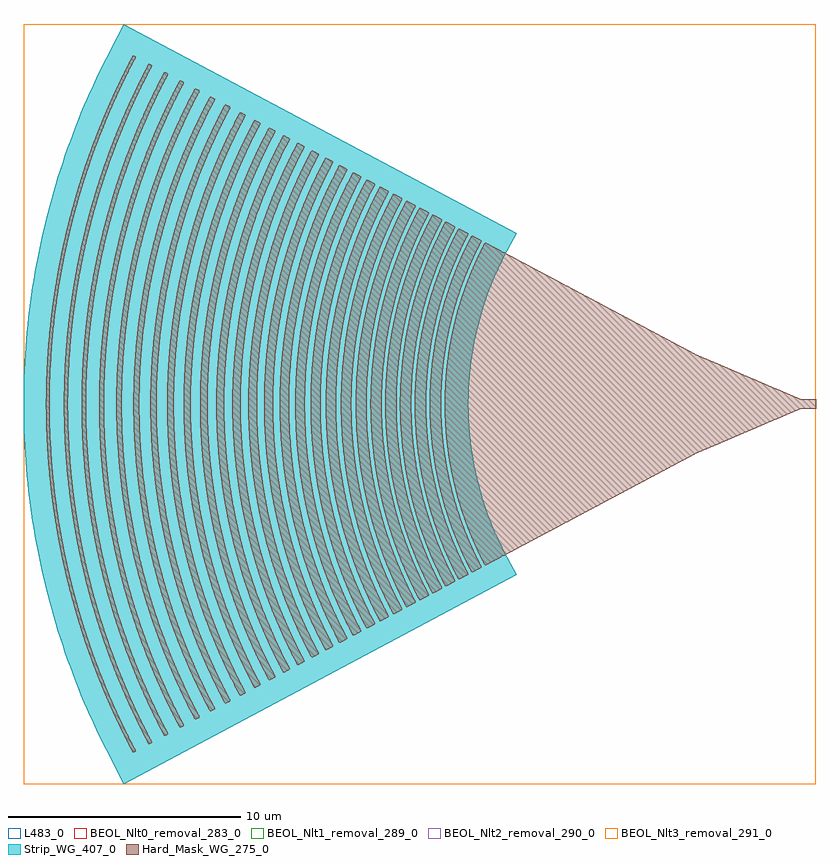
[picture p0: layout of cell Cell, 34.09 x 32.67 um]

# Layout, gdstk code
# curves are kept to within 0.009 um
import gdstk
lib = gdstk.Library(unit=1e-6, precision=1e-09)
def R(c, l, rs):  # rectangles x0, y0, x1, y1
    for r in rs: c.add(gdstk.rectangle(r[:2], r[2:], *l))
def P(c, l, *ps):  # polygons
    for p in ps: c.add(gdstk.Polygon(p, *l))
Hard_Mask_WG_275_0 = (275, 0)
BEOL_Nlt0_removal_283_0 = (283, 0)
BEOL_Nlt1_removal_289_0 = (289, 0)
BEOL_Nlt2_removal_290_0 = (290, 0)
BEOL_Nlt3_removal_291_0 = (291, 0)
Strip_WG_407_0 = (407, 0)
L483_0 = (483, 0)

cell = lib.new_cell('Cell')
P(cell, Hard_Mask_WG_275_0, [(360.085,2.072),(360.055,2.075),(360.014,2.135),(359.414,3.335),(359.019,4.205),(358.633,5.134),(358.271,6.094),(357.965,6.994),(357.725,7.774),(357.46,8.733),(357.249,9.603),(357.065,10.473),(356.917,11.283),(356.767,12.272),(356.65,13.262),(356.564,14.282),(356.525,14.971),(356.495,16.141),(356.5,16.951),(356.532,17.851),(356.593,18.78),(356.71,19.95),(356.831,20.85),(356.98,21.749),(357.189,22.799),(357.399,23.699),(357.639,24.599),(357.936,25.588),(358.239,26.488),(358.574,27.388),(358.993,28.407),(359.414,29.337),(360.014,30.537),(360.055,30.597),(360.085,30.6),(360.198,30.537),(360.215,30.507),(360.207,30.477),(359.778,29.637),(359.301,28.617),(358.822,27.478),(358.428,26.428),(358.165,25.652),(357.922,24.868),(357.712,24.119),(357.508,23.309),(357.321,22.469),(357.145,21.546),(357.022,20.79),(356.905,19.92),(356.814,19.05),(356.755,18.289),(356.725,17.765),(356.692,16.441),(356.7,15.661),(356.752,14.432),(356.814,13.622),(356.905,12.752),(357.022,11.882),(357.145,11.126),(357.321,10.203),(357.508,9.363),(357.712,8.553),(357.922,7.804),(358.165,7.02),(358.428,6.244),(358.822,5.194),(359.301,4.055),(359.778,3.035),(360.207,2.195),(360.215,2.165),(360.198,2.135)],
  [(358.735,1.355),(358.705,1.358),(358.665,1.415),(358.063,2.615),(357.548,3.755),(357.132,4.774),(356.766,5.764),(356.504,6.544),(356.194,7.564),(355.959,8.433),(355.716,9.453),(355.537,10.323),(355.358,11.343),(355.237,12.182),(355.114,13.262),(355.036,14.222),(354.992,15.031),(354.966,16.141),(354.977,17.191),(355.026,18.3),(355.089,19.14),(355.181,20.04),(355.299,20.94),(355.454,21.899),(355.658,22.949),(355.869,23.879),(356.135,24.898),(356.437,25.918),(356.766,26.908),(357.097,27.808),(357.548,28.917),(357.955,29.826),(358.602,31.137),(358.682,31.286),(358.705,31.314),(358.735,31.317),(358.825,31.261),(358.826,31.227),(358.221,30.027),(357.769,29.037),(357.322,27.957),(356.995,27.088),(356.726,26.308),(356.452,25.438),(356.214,24.599),(356.007,23.789),(355.791,22.829),(355.615,21.918),(355.465,21),(355.344,20.1),(355.255,19.26),(355.193,18.48),(355.135,17.321),(355.123,16.531),(355.133,15.421),(355.165,14.652),(355.225,13.759),(355.344,12.572),(355.465,11.672),(355.615,10.754),(355.791,9.843),(356.007,8.883),(356.214,8.073),(356.452,7.234),(356.726,6.364),(356.995,5.584),(357.322,4.715),(357.769,3.635),(358.221,2.645),(358.826,1.445),(358.825,1.411)],
  [(364.555,4.462),(364.336,4.864),(363.915,5.734),(363.609,6.424),(363.339,7.084),(363.069,7.804),(362.824,8.523),(362.593,9.273),(362.38,10.053),(362.2,10.803),(362.021,11.672),(361.869,12.572),(361.775,13.262),(361.689,14.072),(361.633,14.821),(361.597,15.631),(361.589,16.261),(361.597,17.041),(361.633,17.851),(361.689,18.6),(361.775,19.41),(361.869,20.1),(362.021,21),(362.167,21.719),(362.32,22.379),(362.533,23.189),(362.766,23.969),(363.037,24.778),(363.258,25.378),(363.546,26.098),(363.86,26.818),(364.186,27.508),(364.555,28.21),(364.585,28.209),(364.795,28.097),(364.825,28.047),(364.462,27.328),(364.07,26.488),(363.739,25.708),(363.445,24.945),(363.148,24.089),(362.934,23.399),(362.718,22.619),(362.515,21.779),(362.365,21.06),(362.242,20.37),(362.065,19.074),(362.005,18.463),(361.945,17.581),(361.914,16.471),(361.945,15.091),(362.034,13.892),(362.123,13.112),(362.242,12.302),(362.485,11.029),(362.664,10.263),(362.899,9.393),(363.148,8.583),(363.445,7.727),(363.739,6.964),(364.07,6.184),(364.462,5.344),(364.825,4.625),(364.795,4.575),(364.585,4.463)],
  [(373.855,9.401),(373.825,9.417),(373.802,9.453),(373.546,9.963),(373.153,10.863),(372.848,11.702),(372.575,12.632),(372.366,13.562),(372.219,14.492),(372.136,15.361),(372.104,16.201),(372.125,17.131),(372.191,17.941),(372.251,18.42),(372.338,18.96),(372.522,19.83),(372.79,20.79),(373.083,21.629),(373.302,22.169),(373.546,22.709),(373.802,23.219),(373.825,23.255),(373.855,23.271),(382.942,18.45),(387.355,16.56),(387.445,16.544),(388.09,16.541),(388.09,16.131),(387.445,16.128),(387.355,16.112),(382.942,14.222)],
  [(363.955,4.132),(363.925,4.14),(363.895,4.184),(363.403,5.164),(362.983,6.094),(362.676,6.844),(362.374,7.654),(362.112,8.433),(361.868,9.243),(361.66,10.023),(361.478,10.803),(361.326,11.552),(361.207,12.242),(361.087,13.082),(360.995,13.922),(360.936,14.672),(360.903,15.301),(360.883,16.171),(360.887,16.801),(360.914,17.611),(360.971,18.48),(361.065,19.41),(361.179,20.25),(361.326,21.12),(361.478,21.869),(361.66,22.649),(361.868,23.429),(362.112,24.239),(362.374,25.018),(362.676,25.828),(362.983,26.578),(363.403,27.508),(363.895,28.488),(363.925,28.532),(363.955,28.54),(364.165,28.432),(364.189,28.407),(364.187,28.377),(363.82,27.658),(363.44,26.848),(363.106,26.068),(362.813,25.318),(362.547,24.569),(362.243,23.609),(362.034,22.859),(361.822,21.989),(361.675,21.291),(361.555,20.636),(361.373,19.38),(361.254,18.12),(361.225,17.641),(361.193,16.561),(361.195,15.901),(361.225,15.031),(361.282,14.192),(361.345,13.54),(361.435,12.812),(361.555,12.036),(361.675,11.381),(361.822,10.683),(362.034,9.813),(362.243,9.063),(362.547,8.103),(362.813,7.354),(363.106,6.604),(363.44,5.824),(363.82,5.014),(364.187,4.295),(364.189,4.265),(364.165,4.24)],
  [(367.015,5.755),(366.985,5.756),(366.955,5.795),(366.548,6.604),(366.205,7.358),(365.897,8.103),(365.65,8.763),(365.436,9.393),(365.225,10.083),(365.046,10.743),(364.867,11.492),(364.744,12.092),(364.539,13.352),(364.452,14.102),(364.394,14.791),(364.36,15.391),(364.344,16.201),(364.353,17.071),(364.386,17.761),(364.446,18.51),(364.505,19.05),(364.599,19.74),(364.721,20.46),(364.841,21.06),(364.993,21.719),(365.199,22.499),(365.407,23.189),(365.618,23.819),(365.897,24.569),(366.205,25.314),(366.548,26.068),(366.955,26.877),(366.985,26.916),(367.015,26.917),(367.285,26.773),(367.311,26.728),(366.922,25.948),(366.618,25.288),(366.34,24.629),(366.053,23.879),(365.816,23.189),(365.604,22.499),(365.424,21.839),(365.213,20.94),(365.002,19.8),(364.855,18.69),(364.763,17.551),(364.731,16.531),(364.735,15.811),(364.763,15.121),(364.855,13.982),(365.002,12.872),(365.213,11.732),(365.424,10.833),(365.604,10.173),(365.816,9.483),(366.053,8.793),(366.34,8.043),(366.618,7.384),(366.922,6.724),(367.311,5.944),(367.285,5.899)],
  [(371.035,7.904),(371.005,7.928),(370.973,7.984),(370.63,8.673),(370.176,9.723),(369.973,10.263),(369.76,10.893),(369.461,11.942),(369.247,12.902),(369.067,14.012),(369.005,14.552),(368.956,15.151),(368.917,16.141),(368.921,16.771),(368.946,17.371),(369.041,18.45),(369.127,19.08),(369.219,19.62),(369.461,20.73),(369.76,21.779),(369.909,22.229),(370.176,22.949),(370.63,23.999),(370.973,24.688),(371.005,24.744),(371.035,24.768),(371.395,24.588),(371.434,24.539),(370.995,23.639),(370.758,23.099),(370.554,22.589),(370.19,21.539),(369.921,20.58),(369.715,19.65),(369.625,19.141),(369.534,18.51),(369.445,17.613),(369.414,17.101),(369.401,16.501),(369.414,15.571),(369.447,15.031),(369.505,14.408),(369.655,13.352),(369.776,12.722),(369.899,12.182),(370.19,11.133),(370.554,10.083),(370.758,9.573),(370.995,9.033),(371.434,8.133),(371.395,8.084)],
  [(368.185,6.384),(368.155,6.4),(368.12,6.454),(367.702,7.294),(367.392,7.984),(367.146,8.583),(366.91,9.213),(366.697,9.843),(366.488,10.533),(366.312,11.193),(366.185,11.732),(366.038,12.452),(365.921,13.142),(365.831,13.802),(365.765,14.432),(365.709,15.211),(365.679,16.291),(365.709,17.461),(365.765,18.24),(365.831,18.87),(365.921,19.53),(366.038,20.22),(366.185,20.94),(366.312,21.479),(366.488,22.139),(366.697,22.829),(366.91,23.459),(367.146,24.089),(367.392,24.688),(367.702,25.378),(368.12,26.218),(368.155,26.272),(368.185,26.288),(368.496,26.128),(368.52,26.098),(368.514,26.068),(368.15,25.348),(367.821,24.629),(367.548,23.969),(367.311,23.339),(367.078,22.649),(366.863,21.929),(366.683,21.24),(366.534,20.58),(366.325,19.41),(366.204,18.45),(366.116,17.251),(366.099,16.441),(366.116,15.421),(366.204,14.222),(366.325,13.262),(366.534,12.092),(366.683,11.432),(366.863,10.743),(367.078,10.023),(367.311,9.333),(367.548,8.703),(367.821,8.043),(368.15,7.324),(368.514,6.604),(368.52,6.574),(368.496,6.544)],
  [(373.285,9.097),(373.248,9.123),(372.976,9.663),(372.556,10.623),(372.249,11.462),(372.098,11.942),(371.918,12.602),(371.711,13.562),(371.589,14.342),(371.501,15.211),(371.473,15.691),(371.461,16.231),(371.476,17.041),(371.56,18.09),(371.711,19.11),(371.918,20.07),(372.098,20.73),(372.249,21.21),(372.556,22.049),(372.976,23.009),(373.248,23.549),(373.285,23.575),(373.645,23.391),(373.678,23.369),(373.693,23.339),(373.288,22.499),(372.955,21.703),(372.656,20.85),(372.415,20.004),(372.206,19.05),(372.083,18.27),(371.995,17.401),(371.959,16.501),(371.967,15.781),(371.995,15.271),(372.055,14.632),(372.206,13.622),(372.385,12.789),(372.625,11.921),(372.925,11.048),(373.261,10.233),(373.693,9.333),(373.678,9.303),(373.645,9.281)],
  [(368.755,6.693),(368.725,6.722),(368.568,7.024),(368.234,7.714),(367.994,8.253),(367.749,8.853),(367.568,9.333),(367.332,10.023),(367.123,10.713),(366.97,11.283),(366.847,11.792),(366.698,12.512),(366.515,13.652),(366.397,14.791),(366.365,15.301),(366.339,16.201),(366.344,16.801),(366.373,17.521),(366.43,18.27),(366.485,18.78),(366.579,19.47),(366.67,20.01),(366.91,21.15),(367.056,21.719),(367.238,22.349),(367.421,22.919),(367.691,23.669),(367.956,24.329),(368.234,24.958),(368.568,25.648),(368.725,25.95),(368.755,25.979),(368.785,25.975),(369.085,25.816),(369.111,25.768),(368.544,24.599),(368.118,23.579),(367.908,23.009),(367.708,22.409),(367.52,21.779),(367.369,21.21),(367.222,20.58),(367.108,20.01),(366.926,18.84),(366.865,18.292),(366.806,17.551),(366.771,16.561),(366.783,15.631),(366.804,15.151),(366.865,14.38),(366.983,13.412),(367.166,12.362),(367.315,11.684),(367.52,10.893),(367.708,10.263),(367.972,9.483),(368.273,8.703),(368.477,8.223),(368.753,7.624),(369.111,6.904),(369.085,6.856),(368.785,6.697)],
  [(367.585,6.07),(367.555,6.098),(367.494,6.214),(367.121,6.964),(366.848,7.564),(366.548,8.283),(366.31,8.913),(366.094,9.543),(365.89,10.203),(365.678,10.983),(365.411,12.182),(365.289,12.872),(365.194,13.532),(365.107,14.312),(365.056,14.971),(365.014,16.141),(365.019,16.861),(365.05,17.611),(365.107,18.36),(365.171,18.96),(365.261,19.62),(365.377,20.31),(365.503,20.94),(365.648,21.569),(365.83,22.259),(366.036,22.949),(366.215,23.489),(366.455,24.149),(366.732,24.838),(367.037,25.528),(367.401,26.278),(367.555,26.574),(367.585,26.602),(367.615,26.598),(367.885,26.454),(367.917,26.428),(367.919,26.398),(367.613,25.798),(367.263,25.048),(366.983,24.389),(366.74,23.759),(366.505,23.085),(366.293,22.409),(366.087,21.659),(365.903,20.88),(365.693,19.77),(365.546,18.69),(365.454,17.611),(365.418,16.471),(365.432,15.541),(365.454,15.061),(365.515,14.282),(365.665,13.081),(365.871,11.942),(366.055,11.14),(366.267,10.353),(366.47,9.693),(366.74,8.913),(366.983,8.283),(367.263,7.624),(367.613,6.874),(367.919,6.274),(367.917,6.244),(367.885,6.218),(367.615,6.074)],
  [(369.355,7),(369.325,7.003),(369.295,7.042),(368.899,7.834),(368.615,8.463),(368.38,9.033),(368.144,9.663),(367.932,10.293),(367.751,10.893),(367.598,11.462),(367.357,12.542),(367.236,13.232),(367.147,13.862),(367.084,14.432),(367.031,15.091),(366.993,16.201),(366.998,16.831),(367.026,17.491),(367.118,18.57),(367.208,19.26),(367.296,19.8),(367.418,20.43),(367.568,21.09),(367.751,21.779),(367.932,22.379),(368.144,23.009),(368.38,23.639),(368.615,24.209),(368.899,24.838),(369.295,25.63),(369.325,25.669),(369.355,25.672),(369.678,25.498),(369.702,25.468),(369.697,25.438),(369.407,24.868),(369.114,24.239),(368.871,23.669),(368.606,22.979),(368.395,22.365),(368.188,21.689),(368.004,21),(367.853,20.34),(367.675,19.369),(367.555,18.48),(367.464,17.371),(367.437,16.441),(367.464,15.301),(367.524,14.492),(367.645,13.499),(367.853,12.332),(368.004,11.672),(368.188,10.983),(368.395,10.307),(368.606,9.693),(368.871,9.003),(369.114,8.433),(369.407,7.804),(369.697,7.234),(369.702,7.204),(369.678,7.174)],
  [(365.185,4.791),(365.155,4.811),(365.122,4.864),(364.573,5.974),(364.215,6.784),(363.937,7.474),(363.672,8.193),(363.432,8.913),(363.216,9.633),(363.009,10.413),(362.862,11.043),(362.709,11.792),(362.585,12.512),(362.471,13.322),(362.382,14.162),(362.341,14.701),(362.297,15.601),(362.286,16.231),(362.291,16.861),(362.322,17.671),(362.382,18.51),(362.471,19.35),(362.557,19.98),(362.709,20.88),(362.862,21.629),(363.009,22.259),(363.216,23.039),(363.432,23.759),(363.672,24.479),(363.937,25.198),(364.215,25.888),(364.573,26.698),(365.122,27.808),(365.155,27.861),(365.185,27.881),(365.425,27.762),(365.457,27.718),(365.005,26.809),(364.679,26.098),(364.375,25.374),(364.068,24.569),(363.831,23.879),(363.595,23.113),(363.386,22.349),(363.207,21.599),(362.965,20.359),(362.785,19.082),(362.725,18.494),(362.665,17.661),(362.63,16.471),(362.635,15.751),(362.664,15.031),(362.755,13.862),(362.844,13.112),(362.932,12.512),(363.174,11.223),(363.355,10.446),(363.565,9.663),(363.831,8.793),(364.068,8.103),(364.375,7.298),(364.679,6.574),(365.005,5.863),(365.457,4.954),(365.425,4.91)],
  [(365.785,5.115),(365.746,5.164),(365.575,5.494),(365.141,6.394),(364.632,7.594),(364.395,8.223),(364.178,8.853),(363.971,9.513),(363.73,10.383),(363.55,11.133),(363.425,11.732),(363.28,12.542),(363.184,13.202),(363.103,13.892),(363.042,14.582),(363.003,15.241),(362.978,16.141),(362.983,16.861),(363.013,17.641),(363.071,18.45),(363.132,19.05),(363.221,19.74),(363.341,20.49),(363.492,21.27),(363.67,22.049),(363.876,22.829),(364.091,23.549),(364.331,24.269),(364.597,24.988),(364.839,25.588),(365.141,26.278),(365.575,27.178),(365.746,27.508),(365.785,27.557),(365.815,27.555),(366.055,27.427),(366.082,27.388),(366.073,27.358),(365.708,26.638),(365.373,25.918),(365.091,25.258),(364.795,24.496),(364.555,23.814),(364.31,23.039),(364.101,22.289),(363.895,21.434),(363.654,20.19),(363.562,19.59),(363.476,18.9),(363.383,17.821),(363.354,17.281),(363.339,16.501),(363.354,15.391),(363.445,14.072),(363.592,12.872),(363.711,12.152),(363.865,11.375),(364.07,10.503),(364.249,9.843),(364.497,9.033),(364.734,8.343),(365.005,7.628),(365.333,6.844),(365.708,6.034),(366.073,5.314),(366.082,5.284),(366.055,5.245),(365.815,5.117)],
  [(369.925,7.305),(369.895,7.309),(369.863,7.354),(369.517,8.043),(369.283,8.553),(369.006,9.213),(368.768,9.843),(368.584,10.383),(368.408,10.953),(368.229,11.612),(367.983,12.722),(367.808,13.802),(367.691,14.941),(367.659,15.481),(367.643,16.231),(367.662,17.251),(367.718,18.06),(367.778,18.63),(367.864,19.26),(367.96,19.83),(368.199,20.94),(368.526,22.109),(368.736,22.739),(368.947,23.309),(369.192,23.909),(369.517,24.629),(369.863,25.318),(369.895,25.363),(369.925,25.367),(370.255,25.194),(370.285,25.168),(370.285,25.138),(369.797,24.149),(369.586,23.669),(369.321,23.009),(368.958,21.959),(368.662,20.91),(368.425,19.831),(368.245,18.69),(368.185,18.153),(368.125,17.371),(368.097,16.441),(368.125,15.301),(368.216,14.222),(368.365,13.172),(368.484,12.542),(368.632,11.882),(368.93,10.803),(369.115,10.235),(369.321,9.663),(369.586,9.003),(369.797,8.523),(370.285,7.534),(370.285,7.504),(370.255,7.478)],
  [(361.405,2.773),(361.375,2.776),(361.345,2.815),(360.769,3.965),(360.336,4.924),(359.979,5.794),(359.644,6.694),(359.352,7.564),(359.081,8.463),(358.872,9.243),(358.627,10.293),(358.483,11.013),(358.329,11.912),(358.208,12.782),(358.119,13.592),(358.052,14.432),(358.006,15.331),(357.99,16.171),(357.999,17.131),(358.028,17.851),(358.092,18.78),(358.179,19.65),(358.302,20.58),(358.45,21.479),(358.627,22.379),(358.842,23.309),(359.081,24.209),(359.352,25.108),(359.644,25.978),(359.979,26.878),(360.336,27.748),(360.769,28.707),(361.345,29.857),(361.375,29.896),(361.405,29.899),(361.551,29.817),(361.569,29.787),(361.562,29.757),(361.163,28.977),(360.745,28.087),(360.417,27.328),(360.05,26.398),(359.75,25.558),(359.452,24.629),(359.212,23.789),(358.971,22.829),(358.795,22.019),(358.675,21.389),(358.524,20.46),(358.436,19.8),(358.345,18.945),(358.285,18.18),(358.255,17.641),(358.226,16.471),(358.255,15.031),(358.313,14.102),(358.405,13.139),(358.524,12.212),(358.645,11.455),(358.795,10.653),(358.971,9.843),(359.212,8.883),(359.452,8.043),(359.75,7.114),(360.05,6.274),(360.417,5.344),(360.745,4.585),(361.163,3.695),(361.562,2.915),(361.569,2.885),(361.551,2.855)],
  [(359.395,1.714),(359.361,1.745),(359.081,2.285),(358.603,3.275),(358.205,4.175),(357.817,5.134),(357.518,5.944),(357.215,6.844),(356.951,7.714),(356.676,8.733),(356.47,9.603),(356.257,10.653),(356.108,11.522),(355.985,12.392),(355.869,13.442),(355.808,14.192),(355.753,15.241),(355.737,16.111),(355.745,17.161),(355.782,18.06),(355.869,19.23),(355.959,20.07),(356.108,21.15),(356.257,22.019),(356.444,22.949),(356.646,23.819),(356.858,24.629),(357.158,25.648),(357.455,26.548),(357.817,27.538),(358.205,28.497),(358.603,29.397),(359.081,30.387),(359.361,30.927),(359.395,30.958),(359.517,30.897),(359.525,30.867),(359.515,30.84),(359.026,29.877),(358.58,28.917),(358.161,27.928),(357.738,26.818),(357.499,26.128),(357.235,25.295),(356.992,24.449),(356.784,23.639),(356.605,22.855),(356.425,21.954),(356.273,21.06),(356.155,20.215),(356.035,19.11),(355.975,18.33),(355.941,17.701),(355.912,16.591),(355.915,15.781),(355.945,14.879),(356.005,13.922),(356.095,12.962),(356.215,12.008),(356.336,11.223),(356.512,10.263),(356.727,9.273),(356.936,8.433),(357.17,7.594),(357.353,6.994),(357.653,6.094),(358.042,5.044),(358.488,3.965),(358.968,2.915),(359.515,1.832),(359.525,1.805),(359.517,1.775)],
  [(360.745,2.425),(360.711,2.435),(360.642,2.555),(360.103,3.635),(359.708,4.505),(359.322,5.434),(358.994,6.304),(358.716,7.114),(358.42,8.073),(358.182,8.943),(357.972,9.813),(357.755,10.863),(357.61,11.702),(357.489,12.542),(357.396,13.352),(357.315,14.312),(357.273,15.061),(357.246,16.171),(357.253,17.011),(357.305,18.21),(357.37,19.05),(357.463,19.92),(357.582,20.79),(357.755,21.809),(357.906,22.559),(358.121,23.489),(358.36,24.389),(358.629,25.288),(358.93,26.188),(359.287,27.148),(359.682,28.107),(360.103,29.037),(360.642,30.117),(360.711,30.237),(360.745,30.247),(360.878,30.177),(360.897,30.147),(360.889,30.117),(360.52,29.397),(360.107,28.527),(359.753,27.718),(359.359,26.728),(359.057,25.888),(358.764,24.988),(358.495,24.059),(358.251,23.099),(358.103,22.439),(357.927,21.539),(357.802,20.79),(357.686,19.95),(357.595,19.114),(357.533,18.36),(357.476,17.221),(357.466,16.561),(357.474,15.511),(357.504,14.791),(357.565,13.892),(357.624,13.262),(357.717,12.482),(357.865,11.492),(358.015,10.666),(358.223,9.693),(358.495,8.613),(358.764,7.684),(359.057,6.784),(359.359,5.944),(359.753,4.954),(360.107,4.145),(360.52,3.275),(360.889,2.555),(360.897,2.525),(360.878,2.495)],
  [(366.415,5.437),(366.385,5.44),(366.363,5.464),(365.925,6.334),(365.623,6.994),(365.262,7.864),(365.08,8.343),(364.81,9.123),(364.597,9.813),(364.391,10.563),(364.212,11.313),(364.059,12.062),(363.936,12.782),(363.851,13.382),(363.759,14.222),(363.699,15.031),(363.663,16.231),(363.67,16.951),(363.699,17.641),(363.759,18.45),(363.851,19.29),(363.936,19.89),(364.059,20.61),(364.212,21.359),(364.391,22.109),(364.597,22.859),(364.81,23.549),(365.08,24.329),(365.262,24.808),(365.532,25.468),(365.925,26.338),(366.363,27.208),(366.385,27.232),(366.415,27.235),(366.683,27.088),(366.7,27.058),(366.691,27.028),(366.37,26.398),(366.019,25.648),(365.701,24.898),(365.424,24.179),(365.185,23.489),(364.943,22.709),(364.762,22.049),(364.582,21.3),(364.344,20.07),(364.255,19.487),(364.164,18.75),(364.075,17.671),(364.038,16.471),(364.044,15.721),(364.075,15.001),(364.164,13.922),(364.315,12.781),(364.434,12.092),(364.556,11.492),(364.762,10.623),(364.943,9.963),(365.185,9.183),(365.424,8.493),(365.701,7.774),(366.019,7.024),(366.37,6.274),(366.691,5.644),(366.7,5.614),(366.683,5.584)],
  [(370.465,7.605),(370.274,7.954),(369.999,8.523),(369.576,9.513),(369.218,10.503),(369.04,11.073),(368.859,11.732),(368.623,12.782),(368.438,13.922),(368.325,15.061),(368.295,15.601),(368.282,16.171),(368.287,16.831),(368.315,17.461),(368.408,18.51),(368.498,19.17),(368.589,19.71),(368.829,20.82),(368.98,21.389),(369.16,21.989),(369.518,23.009),(369.76,23.609),(369.999,24.149),(370.274,24.718),(370.465,25.067),(370.495,25.066),(370.825,24.891),(370.853,24.868),(370.861,24.838),(370.345,23.775),(369.925,22.759),(369.558,21.689),(369.29,20.73),(369.084,19.8),(368.905,18.7),(368.844,18.18),(368.785,17.463),(368.751,16.501),(368.755,15.871),(368.783,15.241),(368.875,14.212),(368.965,13.553),(369.05,13.052),(369.268,12.032),(369.558,10.983),(369.925,9.913),(370.345,8.897),(370.861,7.834),(370.853,7.804),(370.825,7.781),(370.495,7.606)],
  [(363.325,3.798),(363.295,3.807),(363.265,3.851),(362.771,4.834),(362.441,5.554),(362.052,6.484),(361.714,7.384),(361.479,8.073),(361.239,8.853),(361.001,9.723),(360.821,10.473),(360.641,11.343),(360.486,12.242),(360.369,13.082),(360.277,13.952),(360.222,14.672),(360.183,15.511),(360.173,16.171),(360.183,17.161),(360.215,17.881),(360.277,18.72),(360.369,19.59),(360.486,20.43),(360.613,21.18),(360.762,21.929),(360.941,22.709),(361.179,23.609),(361.45,24.509),(361.714,25.288),(361.982,26.008),(362.324,26.848),(362.686,27.658),(363.235,28.764),(363.288,28.857),(363.325,28.874),(363.527,28.767),(363.545,28.737),(363.537,28.707),(363.205,28.06),(362.87,27.358),(362.54,26.608),(362.18,25.708),(361.878,24.868),(361.644,24.149),(361.375,23.219),(361.163,22.379),(361.017,21.719),(360.867,20.94),(360.741,20.16),(360.653,19.5),(360.565,18.66),(360.504,17.821),(360.475,17.168),(360.465,16.471),(360.474,15.541),(360.504,14.851),(360.565,14.012),(360.625,13.412),(360.715,12.696),(360.836,11.912),(361.101,10.563),(361.343,9.573),(361.553,8.823),(361.855,7.872),(362.124,7.114),(362.416,6.364),(362.748,5.584),(363.14,4.744),(363.537,3.965),(363.545,3.935),(363.527,3.905)],
  [(372.145,8.498),(372.104,8.553),(371.95,8.853),(371.692,9.393),(371.313,10.293),(370.955,11.313),(370.684,12.272),(370.571,12.752),(370.451,13.352),(370.298,14.372),(370.209,15.391),(370.182,16.321),(370.209,17.281),(370.298,18.3),(370.451,19.32),(370.571,19.92),(370.684,20.4),(370.955,21.359),(371.313,22.379),(371.692,23.279),(371.95,23.819),(372.104,24.119),(372.145,24.174),(372.175,24.173),(372.535,23.981),(372.559,23.939),(372.085,22.954),(371.747,22.139),(371.423,21.21),(371.183,20.37),(370.975,19.446),(370.824,18.54),(370.765,18.06),(370.705,17.346),(370.674,16.531),(370.675,16.051),(370.7,15.421),(370.765,14.612),(370.918,13.532),(371.125,12.537),(371.395,11.552),(371.747,10.533),(372.085,9.718),(372.559,8.733),(372.535,8.691),(372.175,8.499)],
  [(372.715,8.796),(372.682,8.823),(372.367,9.453),(372.098,10.053),(371.915,10.503),(371.557,11.522),(371.288,12.482),(371.105,13.322),(370.959,14.222),(370.868,15.091),(370.836,15.601),(370.822,16.201),(370.836,17.071),(370.868,17.581),(370.929,18.21),(371.077,19.2),(371.288,20.19),(371.557,21.15),(371.915,22.169),(372.098,22.619),(372.367,23.219),(372.682,23.849),(372.715,23.876),(373.067,23.699),(373.113,23.669),(373.125,23.639),(372.685,22.727),(372.352,21.929),(372.025,20.989),(371.783,20.13),(371.574,19.17),(371.423,18.18),(371.335,17.151),(371.316,16.441),(371.335,15.521),(371.423,14.492),(371.574,13.502),(371.753,12.662),(372.019,11.702),(372.352,10.743),(372.685,9.945),(373.125,9.033),(373.113,9.003),(373.067,8.973)],
  [(371.605,8.201),(371.575,8.21),(371.546,8.253),(371.23,8.883),(371.024,9.333),(370.749,9.993),(370.385,11.013),(370.212,11.582),(370.06,12.152),(369.845,13.142),(369.757,13.652),(369.674,14.252),(369.579,15.301),(369.548,16.291),(369.579,17.371),(369.674,18.42),(369.757,19.02),(369.845,19.53),(370.06,20.52),(370.212,21.09),(370.385,21.659),(370.749,22.679),(370.933,23.129),(371.23,23.789),(371.546,24.419),(371.575,24.462),(371.605,24.471),(371.965,24.285),(371.997,24.239),(371.505,23.219),(371.122,22.289),(370.821,21.419),(370.556,20.49),(370.435,19.98),(370.313,19.38),(370.165,18.415),(370.075,17.48),(370.038,16.501),(370.044,15.781),(370.075,15.192),(370.134,14.522),(370.223,13.832),(370.313,13.292),(370.526,12.302),(370.793,11.343),(371.122,10.383),(371.505,9.453),(371.997,8.433),(371.965,8.387)],
  [(362.695,3.46),(362.665,3.464),(362.645,3.485),(362.117,4.535),(361.787,5.254),(361.385,6.214),(361.057,7.084),(360.791,7.864),(360.577,8.553),(360.312,9.513),(360.131,10.263),(359.943,11.163),(359.795,12.002),(359.678,12.812),(359.588,13.592),(359.501,14.672),(359.463,15.511),(359.453,16.261),(359.463,17.161),(359.501,18),(359.557,18.75),(359.648,19.62),(359.767,20.49),(359.92,21.389),(360.071,22.139),(360.312,23.159),(360.577,24.119),(360.791,24.808),(361.057,25.588),(361.385,26.458),(361.787,27.418),(362.117,28.137),(362.645,29.187),(362.665,29.208),(362.695,29.212),(362.875,29.117),(362.894,29.097),(362.893,29.067),(362.48,28.257),(362.115,27.478),(361.791,26.728),(361.46,25.888),(361.191,25.138),(360.891,24.209),(360.625,23.268),(360.413,22.409),(360.264,21.719),(360.113,20.91),(359.996,20.16),(359.903,19.44),(359.784,18.12),(359.755,17.611),(359.725,16.471),(359.755,15.061),(359.815,14.132),(359.903,13.232),(359.996,12.512),(360.113,11.762),(360.264,10.953),(360.413,10.263),(360.625,9.404),(360.891,8.463),(361.191,7.534),(361.46,6.784),(361.791,5.944),(362.115,5.194),(362.48,4.415),(362.893,3.605),(362.894,3.575),(362.875,3.555)],
  [(362.035,3.117),(361.997,3.155),(361.733,3.665),(361.3,4.565),(360.943,5.374),(360.639,6.124),(360.307,7.024),(360.037,7.834),(359.828,8.523),(359.562,9.513),(359.379,10.293),(359.231,11.013),(359.107,11.702),(358.96,12.692),(358.864,13.532),(358.784,14.492),(358.748,15.151),(358.724,16.171),(358.74,17.281),(358.778,18.09),(358.835,18.84),(358.93,19.74),(359.045,20.58),(359.197,21.479),(359.379,22.379),(359.562,23.159),(359.828,24.149),(360.037,24.838),(360.307,25.648),(360.639,26.548),(360.943,27.298),(361.3,28.107),(361.733,29.007),(361.997,29.517),(362.035,29.555),(362.215,29.467),(362.235,29.427),(361.825,28.614),(361.459,27.838),(361.047,26.878),(360.709,26.008),(360.414,25.168),(360.113,24.209),(359.904,23.459),(359.695,22.612),(359.516,21.779),(359.362,20.94),(359.243,20.16),(359.153,19.44),(359.033,18.06),(359.002,17.461),(358.981,16.351),(359.002,15.211),(359.033,14.612),(359.153,13.232),(359.243,12.512),(359.362,11.732),(359.516,10.893),(359.662,10.203),(359.904,9.213),(360.113,8.463),(360.414,7.504),(360.709,6.664),(361.047,5.794),(361.459,4.834),(361.825,4.058),(362.235,3.245),(362.215,3.205)])
R(cell, BEOL_Nlt0_removal_283_0, [(354,0,388.06,32.672)])
R(cell, BEOL_Nlt1_removal_289_0, [(354,0,388.06,32.672)])
R(cell, BEOL_Nlt2_removal_290_0, [(354,0,388.06,32.672)])
R(cell, BEOL_Nlt3_removal_291_0, [(354,0,388.06,32.672)])
P(cell, Strip_WG_407_0, [(358.317,0),(357.701,1.173),(357.265,2.045),(356.854,2.929),(356.471,3.825),(356.113,4.732),(355.783,5.649),(355.48,6.575),(355.12,7.824),(354.881,8.769),(354.671,9.721),(354.435,10.999),(354.292,11.963),(354.176,12.931),(354.067,14.225),(354.019,15.199),(354,16.173),(354.019,17.473),(354.067,18.447),(354.144,19.418),(354.25,20.387),(354.384,21.353),(354.547,22.314),(354.808,23.587),(355.037,24.534),(355.294,25.474),(355.578,26.407),(356,27.636),(356.349,28.546),(356.724,29.446),(357.125,30.334),(357.553,31.21),(358.317,32.672),(375.203,23.687),(374.613,22.561),(374.266,21.822),(373.964,21.065),(373.668,20.16),(373.436,19.237),(373.268,18.301),(373.165,17.355),(373.127,16.404),(373.156,15.453),(373.249,14.506),(373.408,13.568),(373.631,12.643),(373.918,11.735),(374.266,10.85),(374.613,10.111),(375.203,8.985)])
R(cell, L483_0, [(354,0,388.06,32.672)])

lib.write_gds('Cell.gds')
